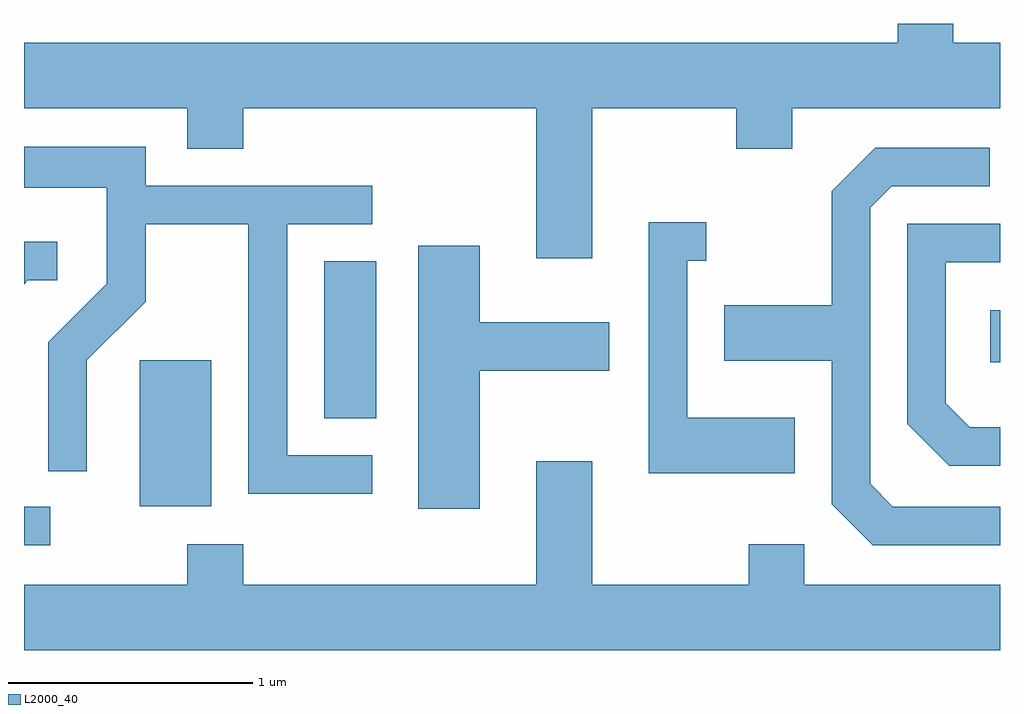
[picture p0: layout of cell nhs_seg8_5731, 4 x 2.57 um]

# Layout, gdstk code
import gdstk
lib = gdstk.Library(unit=1e-6, precision=1e-09)
def R(c, l, rs):  # rectangles x0, y0, x1, y1
    for r in rs: c.add(gdstk.rectangle(r[:2], r[2:], *l))
def P(c, l, *ps):  # polygons
    for p in ps: c.add(gdstk.Polygon(p, *l))
L2000_40 = (2000, 40)

nhs_seg8_5731 = lib.new_cell('nhs_seg8_5731')
R(nhs_seg8_5731, L2000_40, [(357.611,1810.206,357.718,1810.364), (358.086,1810.366,358.379,1810.964), (358.841,1810.726,359.054,1811.369), (361.571,1810.956,361.611,1811.169)])
P(nhs_seg8_5731, L2000_40, [(359.939,1811.996),(360.531,1811.996),(360.531,1811.831),(360.759,1811.831),(360.759,1811.996),(361.611,1811.996),(361.611,1812.264),(361.419,1812.264),(361.419,1812.342),(361.191,1812.342),(361.191,1812.264),(357.611,1812.264),(357.611,1811.996),(358.281,1811.996),(358.281,1811.831),(358.509,1811.831),(358.509,1811.996),(359.711,1811.996),(359.711,1811.381),(359.939,1811.381)],
  [(359.038,1810.574),(358.689,1810.574),(358.689,1811.521),(359.038,1811.521),(359.038,1811.679),(358.109,1811.679),(358.109,1811.839),(357.611,1811.839),(357.611,1811.671),(357.951,1811.671),(357.951,1811.277),(357.711,1811.037),(357.711,1810.508),(357.869,1810.508),(357.869,1810.964),(358.109,1811.204),(358.109,1811.521),(358.531,1811.521),(358.531,1810.416),(359.038,1810.416)],
  [(361.611,1810.364),(361.172,1810.364),(361.079,1810.457),(361.079,1811.589),(361.167,1811.676),(361.568,1811.676),(361.568,1811.834),(361.099,1811.834),(360.921,1811.657),(360.921,1811.189),(360.481,1811.189),(360.481,1810.961),(360.921,1810.961),(360.921,1810.374),(361.089,1810.206),(361.611,1810.206)],
  [(360.769,1810.729),(360.329,1810.729),(360.329,1811.371),(360.408,1811.371),(360.408,1811.529),(360.171,1811.529),(360.171,1810.501),(360.769,1810.501)],
  [(361.611,1810.689),(361.487,1810.689),(361.389,1810.787),(361.389,1811.366),(361.611,1811.366),(361.611,1811.524),(361.231,1811.524),(361.231,1810.704),(361.404,1810.531),(361.611,1810.531)],
  [(357.627,1811.291),(357.748,1811.291),(357.748,1811.449),(357.611,1811.449),(357.611,1811.275)],
  [(359.479,1810.921),(360.009,1810.921),(360.009,1811.119),(359.479,1811.119),(359.479,1811.434),(359.226,1811.434),(359.226,1810.356),(359.479,1810.356)],
  [(359.711,1810.549),(359.711,1810.044),(358.509,1810.044),(358.509,1810.209),(358.281,1810.209),(358.281,1810.044),(357.611,1810.044),(357.611,1809.776),(361.611,1809.776),(361.611,1810.044),(360.809,1810.044),(360.809,1810.209),(360.581,1810.209),(360.581,1810.044),(359.939,1810.044),(359.939,1810.549)])

lib.write_gds('nhs_seg8_5731.gds')
